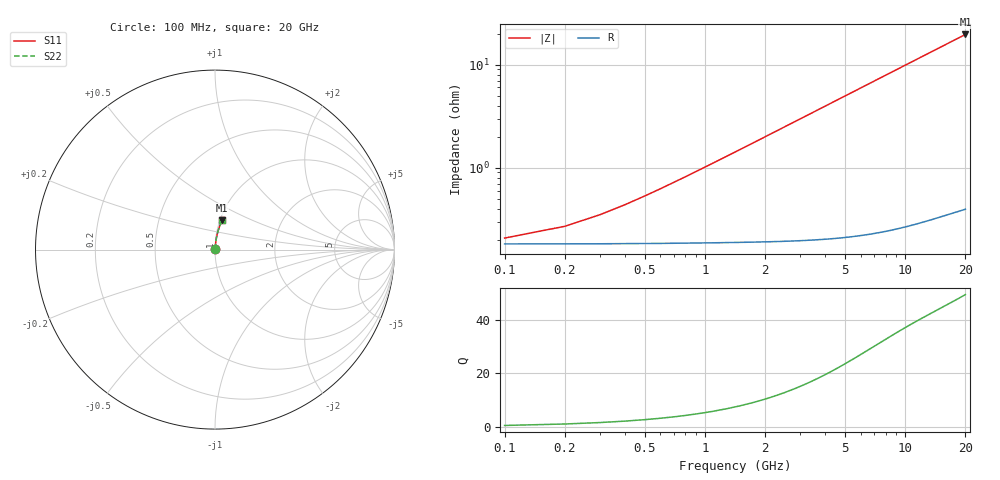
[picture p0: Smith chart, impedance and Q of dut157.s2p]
! Touchstone file exported from HFSS 2026.1.0
!  File:  C:/ffzhzh/LocalFiles/Ansys_Project_Files/temp_train_TSV_157_1782990763_6248.aedt
!  Generated:  07:15:24 PM Jul  2, 2026
!  Design:  TSV
!  Project:  temp_train_TSV_157_1782990763_6248
! Variables:
!  h_bsmrdl = 2um
!  h_ox = 20um
!  h_rdl = 5um
!  h_sub = 69.7um
!  h_tmrdl = 5um
!  h_tsv = 69.7um
!  h_via = 3um
!  l_bsmrdl = 300um
!  l_sub = 404.2um
!  l_tmrdl = 200um
!  m_sub = 200um
!  pitch = 59.63um
!  r_tsv = 2.1um
!  s_tmrdl = 10um
!  w_bsmrdl = 18um
!  w_sub = 500um
!  w_tmrdl = 12um
!  x_tsv_center1 = 206um
!  x_tsv_center2 = 524um
!  x_tsv_center3 = 736um
!  x_tsv_center4 = 1054um
!  x_tsv_center5 = 1266um
!  x_tsv_center6 = 1584um
# GHz S MA R 50.000000
! Terminal data exported
! Port[1] = TSV1_1_T1
! Port[2] = TSV1_1_T2
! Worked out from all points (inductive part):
!   200 points, 100 MHz to 20 GHz, reference 50 ohm
!   read as one part in series: L = 158 pH near 600 MHz
!   highest Q = 49.4 at 20 GHz (marker M1), where L = 156 pH
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0.1  0.002022 25.6  0.9982 -0.1  0.9982 -0.1  0.002022 25.6
! Gamma 0 0 0 0
! Port Impedance 50 0 50 0
0.3  0.003196 54.9  0.9982 -0.2  0.9982 -0.2  0.003196 54.9
0.4  0.003945 62.0  0.9982 -0.3  0.9982 -0.3  0.003945 62.0
0.5  0.004735 66.8  0.9982 -0.3  0.9982 -0.3  0.004735 66.8
0.6  0.005549 70.2  0.9981 -0.4  0.9981 -0.4  0.005549 70.2
0.7  0.006376 72.7  0.9981 -0.4  0.9981 -0.4  0.006376 72.7
0.9  0.008056 76.1  0.9981 -0.6  0.9981 -0.6  0.008056 76.1
1.2  0.01061 79.1  0.9981 -0.8  0.9981 -0.8  0.01061 79.1
1.4  0.01232 80.3  0.998 -0.9  0.998 -0.9  0.01232 80.3
1.7  0.01489 81.6  0.998 -1.1  0.998 -1.1  0.01489 81.6
2.2  0.0192 82.9  0.9979 -1.4  0.9979 -1.4  0.0192 82.9
2.8  0.02437 83.6  0.9978 -1.8  0.9978 -1.8  0.02437 83.6
3.5  0.03041 84.0  0.9976 -2.2  0.9976 -2.2  0.03041 84.0
4.2  0.03645 84.1  0.9973 -2.7  0.9973 -2.7  0.03645 84.1
5  0.04333 84.0  0.997 -3.2  0.997 -3.2  0.04333 84.0
5.9  0.05107 83.8  0.9965 -3.8  0.9965 -3.8  0.05107 83.8
6.8  0.05878 83.5  0.996 -4.3  0.996 -4.3  0.05878 83.5
8.3  0.07158 82.8  0.995 -5.3  0.995 -5.3  0.07158 82.8
10.1  0.08683 81.8  0.9936 -6.4  0.9936 -6.4  0.08683 81.8
13.4  0.1145 80.0  0.9903 -8.5  0.9903 -8.5  0.1145 80.0
16.7  0.1416 78.1  0.9864 -10.5  0.9864 -10.5  0.1416 78.1
20  0.1683 76.2  0.9819 -12.5  0.9819 -12.5  0.1683 76.2
